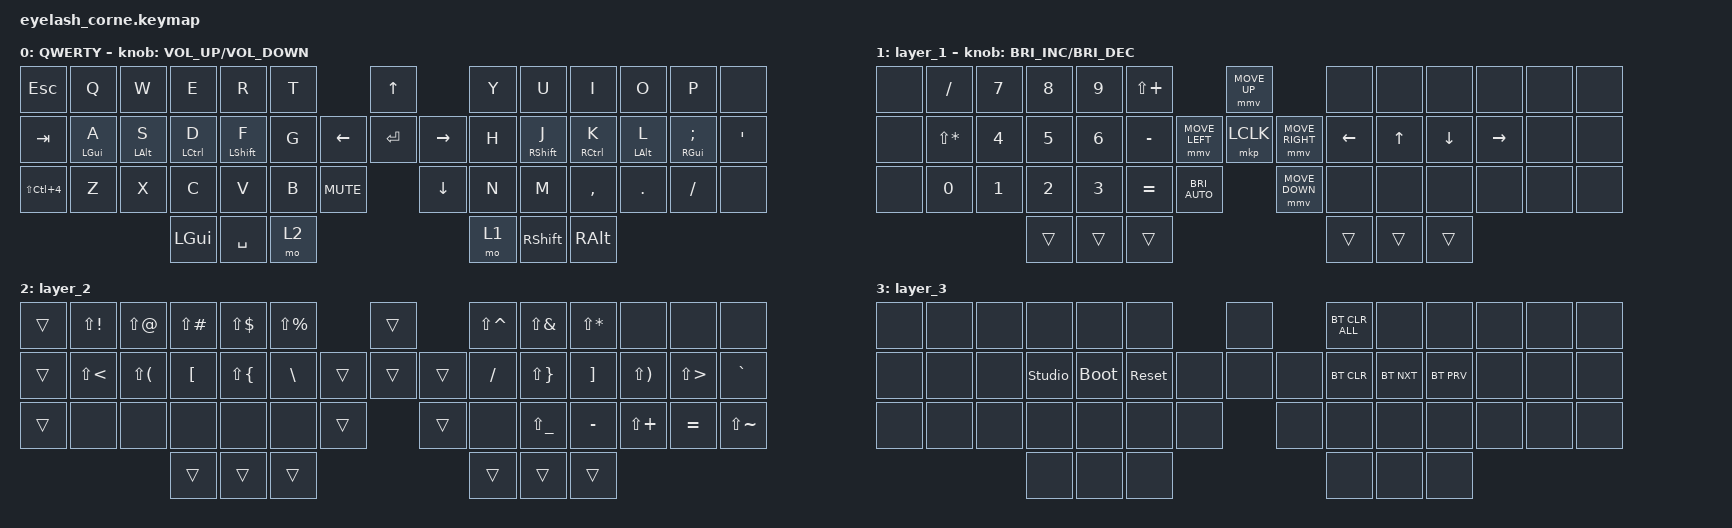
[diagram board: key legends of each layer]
#include <dt-bindings/zmk/mouse.h>
#include <input/processors.dtsi>
#include <behaviors.dtsi>
#include <dt-bindings/zmk/bt.h>
#include <dt-bindings/zmk/keys.h>
#include <dt-bindings/zmk/pointing.h>
#include <dt-bindings/zmk/pointing.h>
#include <dt-bindings/zmk/pointing.h>
#include <dt-bindings/zmk/rgb.h>

/* Key Position Groups */

#define KEYS_LEFT 0 1 2 3 4 5 13 14 15 16 17 18 28 29 30 31 32 33
#define KEYS_RIGHT 7 8 9 10 11 12 22 23 24 25 26 27 36 37 38 39 40 41
#define KEYS_THUMBS 42 43 44 45 46 47

/*

   &mmv_input_listener {
       input-processors = <&zip_xy_scaler 2 1>;
   };

   &msc_input_listener {
       input-processors = <&zip_xy_scaler 2 1>;
   };

 */

#define ZMK_MOUSE_DEFAULT_MOVE_VAL 1200  // 600
#define ZMK_MOUSE_DEFAULT_SCRL_VAL 20    // 10

/ {
    behaviors {
        mtl: mod_tap_left {
            compatible = "zmk,behavior-hold-tap";
            #binding-cells = <2>;
            flavor = "balanced";
            tapping-term-ms = <280>;
            quick-tap-ms = <175>;
            require-prior-idle-ms = <150>;
            bindings = <&kp>, <&kp>;

            hold-trigger-key-positions = <KEYS_RIGHT KEYS_THUMBS>;
            hold-trigger-on-release;
        };

        mtr: mod_tap_right {
            compatible = "zmk,behavior-hold-tap";
            #binding-cells = <2>;
            flavor = "balanced";
            tapping-term-ms = <280>;
            quick-tap-ms = <200>;
            require-prior-idle-ms = <150>;
            bindings = <&kp>, <&kp>;

            hold-trigger-key-positions = <KEYS_LEFT KEYS_THUMBS>;
            hold-trigger-on-release;
        };

        td0: td0 {
            compatible = "zmk,behavior-tap-dance";
            display-name = "Shift/Caps Lock Tap Dance";
            #binding-cells = <0>;
            bindings = <&kp LEFT_SHIFT>, <&kp CAPS>;
        };
    };

    rgb_encoder: rgb_encoder {
        compatible = "zmk,behavior-sensor-rotate";
        #sensor-binding-cells = <0>;
        bindings = <&rgb_ug RGB_BRI>, <&rgb_ug RGB_BRD>;
    };

    scroll_encoder: scroll_encoder {
        compatible = "zmk,behavior-sensor-rotate";
        #sensor-binding-cells = <0>;
        bindings = <&msc SCRL_DOWN>, <&msc SCRL_UP>;

        tap-ms = <30>;
    };

    combos {
        compatible = "zmk,combos";

        MouseLeftClick {
            bindings = <&mkp LCLK>;
            key-positions = <45 46>;
        };

        MouseClickRight {
            bindings = <&mkp RCLK>;
            key-positions = <46 47>;
        };

        hyper {
            bindings = <&kp RS(RA(RC(RIGHT_GUI)))>;
            key-positions = <46 43>;
        };

        backspace {
            bindings = <&kp BACKSPACE>;
            key-positions = <9 10>;
        };

        enter {
            bindings = <&kp ENTER>;
            key-positions = <38 39>;
        };

        escape {
            bindings = <&kp ESCAPE>;
            key-positions = <2 3>;
        };

        tab {
            bindings = <&kp TAB>;
            key-positions = <31 30>;
        };

        third {
            bindings = <&mo 3>;
            key-positions = <44 45>;
        };
    };

    keymap {
        compatible = "zmk,keymap";

        default_layer {
            display-name = "QWERTY";
            bindings = <
&kp ESC               &kp Q            &kp W            &kp E         &kp R              &kp T                          &kp UP                &kp Y  &kp U               &kp I                 &kp O            &kp P                &none
&kp TAB               &mtl LEFT_GUI A  &mtl LEFT_ALT S  &mtl LCTRL D  &mtl LEFT_SHIFT F  &kp G                &kp LEFT  &kp ENTER  &kp RIGHT  &kp H  &mtr RIGHT_SHIFT J  &mtr RIGHT_CONTROL K  &mtr LEFT_ALT L  &mtr RIGHT_GUI SEMI  &kp SQT
&kp LS(LC(NUMBER_4))  &kp Z            &kp X            &kp C         &kp V              &kp B  &kp C_MUTE              &kp DOWN              &kp N  &kp M               &kp COMMA             &kp DOT          &kp FSLH             &none
                                                        &kp LGUI      &kp SPACE          &mo 2                                                &mo 1  &kp RIGHT_SHIFT     &kp RIGHT_ALT
            >;

            sensor-bindings = <&inc_dec_kp C_VOLUME_UP C_VOLUME_DOWN>;
        };

        layer_1 {
            bindings = <
&none  &kp FSLH      &kp N7  &kp N8  &kp N9  &kp LS(PLUS)                                           &mmv MOVE_UP                     &none     &none   &none     &none      &none  &none
&none  &kp LS(STAR)  &kp N4  &kp N5  &kp N6  &kp MINUS                              &mmv MOVE_LEFT  &mkp LCLK       &mmv MOVE_RIGHT  &kp LEFT  &kp UP  &kp DOWN  &kp RIGHT  &none  &none
&none  &kp N0        &kp N1  &kp N2  &kp N3  &kp EQUAL     &kp C_BRIGHTNESS_AUTO                    &mmv MOVE_DOWN                   &none     &none   &none     &none      &none  &none
                             &trans  &trans  &trans                                                                                  &trans    &trans  &trans
            >;

            sensor-bindings = <&inc_dec_kp C_BRIGHTNESS_INC C_BRIGHTNESS_DEC>;
        };

        layer_2 {
            bindings = <
&trans  &kp LS(EXCL)  &kp LS(AT)    &kp LS(POUND)  &kp LS(DLLR)  &kp LS(PRCNT)                    &trans          &kp LS(CARET)  &kp LS(AMPS)   &kp LS(STAR)  &none         &none       &none
&trans  &kp LS(LT)    &kp LS(LPAR)  &kp LBKT       &kp LS(LBRC)  &kp BSLH                 &trans  &trans  &trans  &kp FSLH       &kp LS(RBRC)   &kp RBKT      &kp LS(RPAR)  &kp LS(GT)  &kp GRAVE
&trans  &none         &none         &none          &none         &none          &trans            &trans          &none          &kp LS(UNDER)  &kp MINUS     &kp LS(PLUS)  &kp EQUAL   &kp LS(TILDE)
                                    &trans         &trans        &trans                                           &trans         &trans         &trans
            >;
        };

        layer_3 {
            bindings = <
&none  &none  &none  &none           &none        &none                       &none         &bt BT_CLR_ALL  &none       &none       &none  &none  &none
&none  &none  &none  &studio_unlock  &bootloader  &sys_reset           &none  &none  &none  &bt BT_CLR      &bt BT_NXT  &bt BT_PRV  &none  &none  &none
&none  &none  &none  &none           &none        &none       &none           &none         &none           &none       &none       &none  &none  &none
                     &none           &none        &none                                     &none           &none       &none
            >;
        };
    };
};
